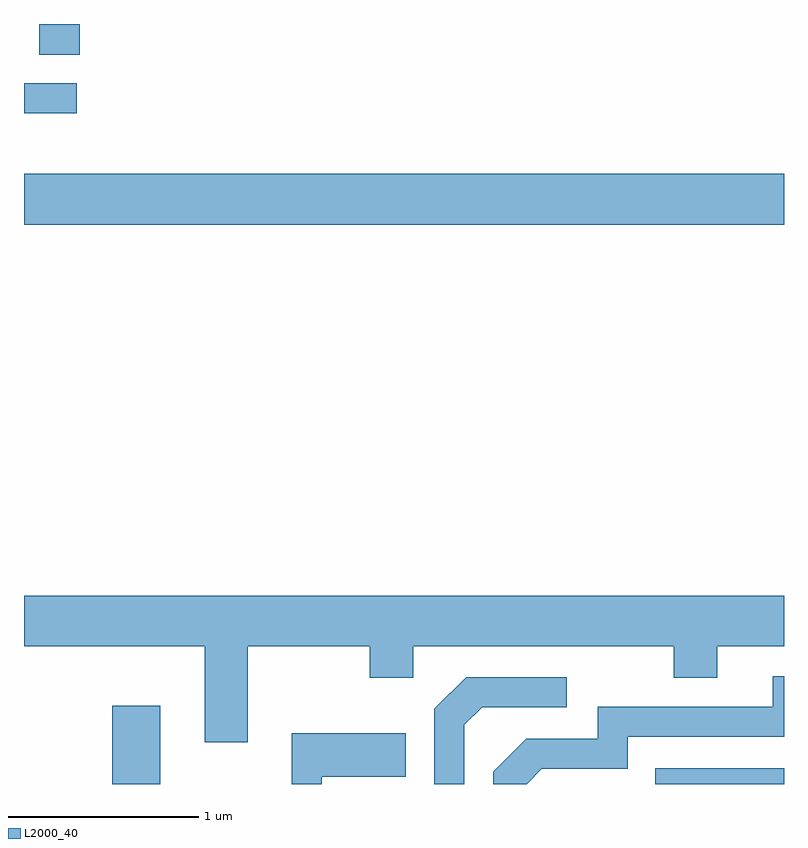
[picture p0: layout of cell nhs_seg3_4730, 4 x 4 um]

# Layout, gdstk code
import gdstk
lib = gdstk.Library(unit=1e-6, precision=1e-09)
def R(c, l, rs):  # rectangles x0, y0, x1, y1
    for r in rs: c.add(gdstk.rectangle(r[:2], r[2:], *l))
def P(c, l, *ps):  # polygons
    for p in ps: c.add(gdstk.Polygon(p, *l))
L2000_40 = (2000, 40)

nhs_seg3_4730 = lib.new_cell('nhs_seg3_4730')
R(nhs_seg3_4730, L2000_40, [(324.076,1191.892,324.329,1192.304), (326.933,1191.892,327.611,1191.974), (323.611,1194.836,327.611,1195.104), (323.611,1195.421,323.888,1195.579), (323.691,1195.731,323.904,1195.892)])
P(nhs_seg3_4730, L2000_40, [(324.789,1192.616),(325.431,1192.616),(325.431,1192.451),(325.659,1192.451),(325.659,1192.616),(327.031,1192.616),(327.031,1192.451),(327.259,1192.451),(327.259,1192.616),(327.611,1192.616),(327.611,1192.884),(323.611,1192.884),(323.611,1192.616),(324.561,1192.616),(324.561,1192.111),(324.789,1192.111)],
  [(326.337,1191.971),(326.789,1191.971),(326.789,1192.141),(327.611,1192.141),(327.611,1192.459),(327.551,1192.459),(327.551,1192.299),(326.631,1192.299),(326.631,1192.129),(326.254,1192.129),(326.081,1191.957),(326.081,1191.892),(326.257,1191.892)],
  [(325.929,1192.204),(326.022,1192.296),(326.468,1192.296),(326.468,1192.454),(325.939,1192.454),(325.771,1192.287),(325.771,1191.892),(325.929,1191.892)],
  [(325.179,1191.931),(325.619,1191.931),(325.619,1192.159),(325.021,1192.159),(325.021,1191.892),(325.179,1191.892)])

lib.write_gds('nhs_seg3_4730.gds')
